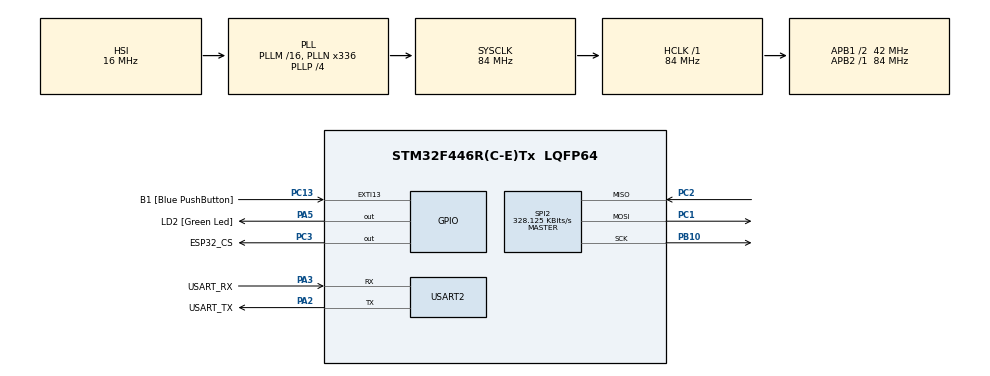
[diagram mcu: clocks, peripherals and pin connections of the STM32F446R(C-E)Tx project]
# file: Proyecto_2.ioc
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Mcu.Family=STM32F4
Mcu.Name=STM32F446R(C-E)Tx
Mcu.Package=LQFP64
NVIC.PriorityGroup=NVIC_PRIORITYGROUP_0
NVIC.USART2_IRQn=true\:0\:0\:false\:false\:true\:true\:true\:true
PA13.GPIO_Label=TMS
PA13.Signal=SYS_JTMS-SWDIO
PA14.GPIO_Label=TCK
PA14.Signal=SYS_JTCK-SWCLK
PA2.GPIO_Label=USART_TX
PA2.Mode=Asynchronous
PA2.Signal=USART2_TX
PA3.GPIO_Label=USART_RX
PA3.Mode=Asynchronous
PA3.Signal=USART2_RX
PA5.GPIO_Label=LD2 [Green Led]
PA5.Signal=GPIO_Output
PB10.Mode=Full_Duplex_Master
PB10.Signal=SPI2_SCK
PB3.GPIO_Label=SWO
PB3.Signal=SYS_JTDO-SWO
PC1.Mode=Full_Duplex_Master
PC1.Signal=SPI2_MOSI
PC13.GPIO_Label=B1 [Blue PushButton]
PC13.GPIO_ModeDefaultEXTI=GPIO_MODE_IT_FALLING
PC13.Signal=GPXTI13
PC14-OSC32_IN.Signal=RCC_OSC32_IN
PC15-OSC32_OUT.Signal=RCC_OSC32_OUT
PC2.Mode=Full_Duplex_Master
PC2.Signal=SPI2_MISO
PC3.GPIO_Label=ESP32_CS
PC3.GPIO_Speed=GPIO_SPEED_FREQ_HIGH
PC3.PinState=GPIO_PIN_SET
PC3.Signal=GPIO_Output
PH0-OSC_IN.Signal=RCC_OSC_IN
PH1-OSC_OUT.Signal=RCC_OSC_OUT
ProjectManager.HeapSize=0x200
ProjectManager.StackSize=0x400
ProjectManager.TargetToolchain=STM32CubeIDE
RCC.AHBFreq_Value=84000000
RCC.APB1CLKDivider=RCC_HCLK_DIV2
RCC.APB1Freq_Value=42000000
RCC.APB1TimFreq_Value=84000000
RCC.APB2Freq_Value=84000000
RCC.APB2TimFreq_Value=84000000
RCC.CortexFreq_Value=84000000
RCC.FLatency-AdvancedSettings=FLASH_LATENCY_2
RCC.HCLKFreq_Value=84000000
RCC.HSE_VALUE=8000000
RCC.HSI_VALUE=16000000
RCC.LSE_VALUE=32768
RCC.PLLN=336
RCC.PLLP=RCC_PLLP_DIV4
RCC.SYSCLKFreq_VALUE=84000000
RCC.SYSCLKSource=RCC_SYSCLKSOURCE_PLLCLK
RCC.USBFreq_Value=168000000
RCC.VCOOutputFreq_Value=336000000
SPI2.BaudRatePrescaler=SPI_BAUDRATEPRESCALER_128
SPI2.CalculateBaudRate=328.125 KBits/s
SPI2.Direction=SPI_DIRECTION_2LINES
SPI2.Mode=SPI_MODE_MASTER
SPI2.VirtualType=VM_MASTER
USART2.VirtualMode=VM_ASYNC
board=NUCLEO-F446RE

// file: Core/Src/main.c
/* USER CODE BEGIN Header */
/**
  ******************************************************************************
  * @file           : main.c
  * @brief          : Main program body
  ******************************************************************************
  * @attention
  *
  * Copyright (c) 2026 STMicroelectronics.
  * All rights reserved.
  *
  * This software is licensed under terms that can be found in the LICENSE file
  * in the root directory of this software component.
  * If no LICENSE file comes with this software, it is provided AS-IS.
  *
  ******************************************************************************
  */
/* USER CODE END Header */
#include "main.h"

/* USER CODE BEGIN Includes */
#include <stdint.h>
/* USER CODE END Includes */

SPI_HandleTypeDef hspi2;

UART_HandleTypeDef huart2;

/* USER CODE BEGIN PV */
uint8_t TxData, RxData;
/* USER CODE END PV */

void SystemClock_Config(void);
static void MX_GPIO_Init(void);
static void MX_SPI2_Init(void);
static void MX_USART2_UART_Init(void);

int main(void)
{

  /* MCU Configuration--------------------------------------------------------*/

  /* Reset of all peripherals, Initializes the Flash interface and the Systick. */
  HAL_Init();

  /* Configure the system clock */
  SystemClock_Config();

  /* Initialize all configured peripherals */
  MX_GPIO_Init();
  MX_SPI2_Init();
  MX_USART2_UART_Init();
  /* USER CODE BEGIN 2 */
  TxData = 25;

  // Se activa slave
  HAL_GPIO_WritePin(ESP32_CS_GPIO_Port, ESP32_CS_Pin, GPIO_PIN_RESET);
  HAL_SPI_TransmitReceive(&hspi2, &TxData, &RxData, 1, HAL_MAX_DELAY);
  // Desactivamos slave
  HAL_GPIO_WritePin(ESP32_CS_GPIO_Port, ESP32_CS_Pin, GPIO_PIN_SET);
  /* USER CODE END 2 */

  /* Infinite loop */
  /* USER CODE BEGIN WHILE */
  while (1)
  {
	  TxData = 1;

	  // Se activa el slave
	  HAL_GPIO_WritePin(ESP32_CS_GPIO_Port, ESP32_CS_Pin, GPIO_PIN_RESET);
	  HAL_SPI_TransmitReceive(&hspi2, &TxData, &RxData, 1, HAL_MAX_DELAY);

	  // Se desactiva el slave
	  HAL_GPIO_WritePin(ESP32_CS_GPIO_Port, ESP32_CS_Pin, GPIO_PIN_SET);
	  HAL_Delay(500);

	  TxData = 0;

	  // Se activa el slave
	  HAL_GPIO_WritePin(ESP32_CS_GPIO_Port, ESP32_CS_Pin, GPIO_PIN_RESET);
	  HAL_SPI_TransmitReceive(&hspi2, &TxData, &RxData, 1, HAL_MAX_DELAY);

	  // Se desactiva el slave
	  HAL_GPIO_WritePin(ESP32_CS_GPIO_Port, ESP32_CS_Pin, GPIO_PIN_SET);
	  HAL_Delay(500);

    /* USER CODE END WHILE */

  }
}

void SystemClock_Config(void)
{
  RCC_OscInitTypeDef RCC_OscInitStruct = {0};
  RCC_ClkInitTypeDef RCC_ClkInitStruct = {0};

  /** Configure the main internal regulator output voltage
  */
  __HAL_RCC_PWR_CLK_ENABLE();
  __HAL_PWR_VOLTAGESCALING_CONFIG(PWR_REGULATOR_VOLTAGE_SCALE3);

  /** Initializes the RCC Oscillators according to the specified parameters
  * in the RCC_OscInitTypeDef structure.
  */
  RCC_OscInitStruct.OscillatorType = RCC_OSCILLATORTYPE_HSI;
  RCC_OscInitStruct.HSIState = RCC_HSI_ON;
  RCC_OscInitStruct.HSICalibrationValue = RCC_HSICALIBRATION_DEFAULT;
  RCC_OscInitStruct.PLL.PLLState = RCC_PLL_ON;
  RCC_OscInitStruct.PLL.PLLSource = RCC_PLLSOURCE_HSI;
  RCC_OscInitStruct.PLL.PLLM = 16;
  RCC_OscInitStruct.PLL.PLLN = 336;
  RCC_OscInitStruct.PLL.PLLP = RCC_PLLP_DIV4;
  RCC_OscInitStruct.PLL.PLLQ = 2;
  RCC_OscInitStruct.PLL.PLLR = 2;
  if (HAL_RCC_OscConfig(&RCC_OscInitStruct) != HAL_OK)
  {
    Error_Handler();
  }

  /** Initializes the CPU, AHB and APB buses clocks
  */
  RCC_ClkInitStruct.ClockType = RCC_CLOCKTYPE_HCLK|RCC_CLOCKTYPE_SYSCLK
                              |RCC_CLOCKTYPE_PCLK1|RCC_CLOCKTYPE_PCLK2;
  RCC_ClkInitStruct.SYSCLKSource = RCC_SYSCLKSOURCE_PLLCLK;
  RCC_ClkInitStruct.AHBCLKDivider = RCC_SYSCLK_DIV1;
  RCC_ClkInitStruct.APB1CLKDivider = RCC_HCLK_DIV2;
  RCC_ClkInitStruct.APB2CLKDivider = RCC_HCLK_DIV1;

  if (HAL_RCC_ClockConfig(&RCC_ClkInitStruct, FLASH_LATENCY_2) != HAL_OK)
  {
    Error_Handler();
  }
}

static void MX_SPI2_Init(void)
{

  /* SPI2 parameter configuration*/
  hspi2.Instance = SPI2;
  hspi2.Init.Mode = SPI_MODE_MASTER;
  hspi2.Init.Direction = SPI_DIRECTION_2LINES;
  hspi2.Init.DataSize = SPI_DATASIZE_8BIT;
  hspi2.Init.CLKPolarity = SPI_POLARITY_LOW;
  hspi2.Init.CLKPhase = SPI_PHASE_1EDGE;
  hspi2.Init.NSS = SPI_NSS_SOFT;
  hspi2.Init.BaudRatePrescaler = SPI_BAUDRATEPRESCALER_128;
  hspi2.Init.FirstBit = SPI_FIRSTBIT_MSB;
  hspi2.Init.TIMode = SPI_TIMODE_DISABLE;
  hspi2.Init.CRCCalculation = SPI_CRCCALCULATION_DISABLE;
  hspi2.Init.CRCPolynomial = 10;
  if (HAL_SPI_Init(&hspi2) != HAL_OK)
  {
    Error_Handler();
  }

}

static void MX_USART2_UART_Init(void)
{

  huart2.Instance = USART2;
  huart2.Init.BaudRate = 115200;
  huart2.Init.WordLength = UART_WORDLENGTH_8B;
  huart2.Init.StopBits = UART_STOPBITS_1;
  huart2.Init.Parity = UART_PARITY_NONE;
  huart2.Init.Mode = UART_MODE_TX_RX;
  huart2.Init.HwFlowCtl = UART_HWCONTROL_NONE;
  huart2.Init.OverSampling = UART_OVERSAMPLING_16;
  if (HAL_UART_Init(&huart2) != HAL_OK)
  {
    Error_Handler();
  }

}

static void MX_GPIO_Init(void)
{
  GPIO_InitTypeDef GPIO_InitStruct = {0};

  /* GPIO Ports Clock Enable */
  __HAL_RCC_GPIOC_CLK_ENABLE();
  __HAL_RCC_GPIOH_CLK_ENABLE();
  __HAL_RCC_GPIOA_CLK_ENABLE();
  __HAL_RCC_GPIOB_CLK_ENABLE();

  /*Configure GPIO pin Output Level */
  HAL_GPIO_WritePin(ESP32_CS_GPIO_Port, ESP32_CS_Pin, GPIO_PIN_SET);

  /*Configure GPIO pin Output Level */
  HAL_GPIO_WritePin(LD2_GPIO_Port, LD2_Pin, GPIO_PIN_RESET);

  /*Configure GPIO pin : B1_Pin */
  GPIO_InitStruct.Pin = B1_Pin;
  GPIO_InitStruct.Mode = GPIO_MODE_IT_FALLING;
  GPIO_InitStruct.Pull = GPIO_NOPULL;
  HAL_GPIO_Init(B1_GPIO_Port, &GPIO_InitStruct);

  /*Configure GPIO pin : ESP32_CS_Pin */
  GPIO_InitStruct.Pin = ESP32_CS_Pin;
  GPIO_InitStruct.Mode = GPIO_MODE_OUTPUT_PP;
  GPIO_InitStruct.Pull = GPIO_NOPULL;
  GPIO_InitStruct.Speed = GPIO_SPEED_FREQ_HIGH;
  HAL_GPIO_Init(ESP32_CS_GPIO_Port, &GPIO_InitStruct);

  /*Configure GPIO pin : LD2_Pin */
  GPIO_InitStruct.Pin = LD2_Pin;
  GPIO_InitStruct.Mode = GPIO_MODE_OUTPUT_PP;
  GPIO_InitStruct.Pull = GPIO_NOPULL;
  GPIO_InitStruct.Speed = GPIO_SPEED_FREQ_LOW;
  HAL_GPIO_Init(LD2_GPIO_Port, &GPIO_InitStruct);

}

void Error_Handler(void)
{
  __disable_irq();
  while (1)
  {
  }
}
